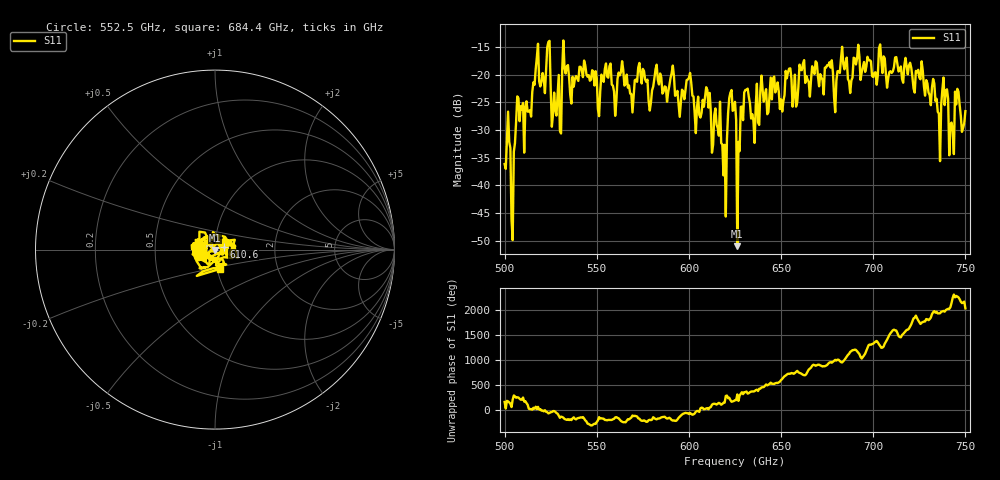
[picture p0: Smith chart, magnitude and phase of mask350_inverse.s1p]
!Created with skrf (http://scikit-rf.org).
# GHz S MA R 50.0
!freq magS11 angS11
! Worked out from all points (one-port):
!   401 points, 500 GHz to 750 GHz, reference 50 ohm
!   lowest |S11| = -51.0 dB at 626.2 GHz (marker M1), VSWR 1.01, Z = 50.2 - j0.2 ohm
!   |S11| at or under -10 dB: start of sweep to end of sweep
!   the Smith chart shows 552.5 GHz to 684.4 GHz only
!   S11 on the Smith chart (normalised r, x): 552.5 GHz: 0.83, -0.06; 610.6 GHz: 1.10, +0.04; 684.4 GHz: 1.03, -0.23
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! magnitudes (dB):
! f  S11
! 500 GHz  -36.2
! 501.9 GHz  -26.7
! 504.4 GHz  -49.9
! 507.5 GHz  -24.3
! 511.9 GHz  -24.8
! 516.9 GHz  -19.0
! 523.8 GHz  -14.1
! 526.9 GHz  -23.2
! 531.2 GHz  -19.2
! 552.5 GHz  -20.0
! 562.5 GHz  -20.1
! 593.8 GHz  -22.9
! 610.6 GHz  -26.0
! 618.8 GHz  -38.2
! 622.5 GHz  -23.3
! 625 GHz  -24.9
! 626.2 GHz  -51.0
! 631.2 GHz  -22.8
! 635 GHz  -28.3
! 656.2 GHz  -25.8
! 684.4 GHz  -19.0
! 687.5 GHz  -23.3
! 718.8 GHz  -19.9
! 735 GHz  -26.7
! 739.4 GHz  -22.9
! 742.5 GHz  -28.6
! 745.6 GHz  -22.6
! 750 GHz  -26.6
